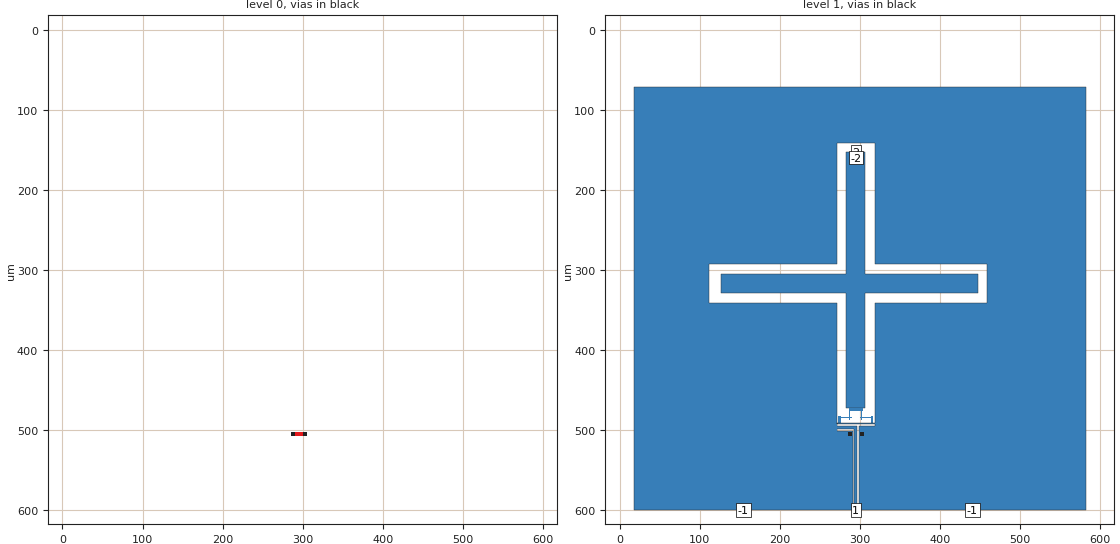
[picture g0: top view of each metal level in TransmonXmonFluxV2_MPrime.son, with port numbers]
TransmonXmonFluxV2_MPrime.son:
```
FTYP SONPROJ 15 ! Sonnet Project File
VER 16.52
HEADER
LIC calt2.2.43068 b4ae2bd1247e DESKTOP-SL82IK9 Michael
DAT 04/14/2016 13:14:15
BUILT_BY_CREATED xgeom 16.52 04/11/2016 14:48:12
BUILT_BY_SAVED xgeom 16.52
MDATE 04/14/2016 13:14:08
HDATE 04/14/2016 13:14:08
END HEADER
DIM
FREQ GHZ
IND NH
LNG UM
ANG DEG
CON /OH
CAP PF
RES OH
END DIM
FREQ
SIMPLE 0.1 10.0
ABS 0.0 10.0 
END FREQ
CONTROL
VARSWP
OPTIONS  -dj 
SPEED 0
CACHE_ABS 1
TARG_ABS 300
Q_ACC N
END CONTROL
GEO
TMET "Lossless" 0 SUP 0 0 0 0
BMET "Lossless" 0 SUP 0 0 0 0
BOX 3 600 600 1200 1200 20 0
      500 1 1 0 0 0 0 "Unnamed"
      10 1 1 0 0 0 0 "Unnamed"
      500 11.9 1 5e-006 0 0 0 "Silicon (intrinsic)"
      500 1 1 0 0 0 0 "Unnamed"
VALVAR rightNotch LNG 21.9999826 "Dim. Param."
VALVAR leftNotch NONE 22 "Dim. Param."
LORGN 0 600 U 
POR1 CUP A
POLY 13 1
4
2 50 0 0 0 295 152.9999969 
POR1 STD
POLY 56 1
2
-1 50 0 0 0 154.4999927 600 
POR1 STD
POLY 56 1
44
-1 50 0 0 0 440.49999 600 
POR1 STD
POLY 56 1
9
1 50 0 0 0 295.0000012 600 
POR1 CUP A
POLY 56 1
29
-2 50 0 0 0 295 140.9999967 
CUPGRP "A"
ID 71
GNDREF F
TWTYPE CUST
TWVALUE 24
END
NUM 13
0 5 -1 N 9 1 1 100 100 0 0 0 Y
285 503
305 503
305 508
285 508
285 503
END
VIA POLYGON
0 5 -1 N 10 1 1 100 100 0 0 0 Y
TOLEVEL 1 RING NOCOVERS
285 503
290 503
290 508
285 508
285 503
END
VIA POLYGON
0 5 -1 N 11 1 1 100 100 0 0 0 Y
TOLEVEL 1 RING NOCOVERS
300 503
305 503
305 508
300 508
300 503
END
1 13 -1 N 13 1 1 100 100 0 0 0 Y
307 329
446.9999709 329
446.9999709 305
307 305
307 152.9999969
283 152.9999969
283 305
127 305
127 329
283 329
283 472.9999909
307 472.9999909
307 329
END
1 5 -1 N 14 1 1 100 100 0 0 0 Y
287 475
288 475
288 487
287 487
287 475
END
1 5 -1 N 15 1 1 100 100 0 0 0 Y
300 484
317.0000236 484
317.0000236 485
300 485
300 484
END
1 5 -1 N 16 1 1 100 100 0 0 0 Y
286 472
304 472
304 476
286 476
286 472
END
1 5 -1 N 21 1 1 100 100 0 0 0 Y
290 484
272.9999763 484
272.9999763 485
290 485
290 484
END
1 5 -1 N 36 1 1 100 100 0 0 0 Y
273 483
276 483
276 493
273 493
273 483
END
1 5 -1 N 47 1 1 100 100 0 0 0 Y
314 483
317 483
317 493
314 493
314 483
END
1 47 -1 N 56 1 1 100 100 0 0 0 Y
582 72
18 72
18 600
290.9999853 600
290.9999853 500.9999814
270.99999 500.9999814
270.99999 499
292.99999 499
292.99999 501
292.99999 600
297.0000123 600
297.0000123 501
297 501
297 495
271 495
271 494.9999948
271.0000137 494.9999948
271.0000137 494.0000098
271.0000137 493.0000151
271 493.0000151
271 493
271 493
271 491
271 485
271 484
271 341
111 341
111 293
271 293
271 140.9999967
319 140.9999967
319 293
459 293
459 341
319 341
319 491
271 491
271 493
317 493
317 492.9999976
318.9999826 492.9999976
318.9999826 495
298.99998 495
298.99998 500.9999814
298.99998 600
582 600
582 72
END
1 5 -1 N 61 1 1 100 100 0 0 0 Y
270 493.0000151
270.99999 493.0000151
270.99999 501
270 501
270 493.0000151
END
1 9 -1 N 68 1 1 100 100 0 0 0 Y
303 481
303 480
303 475
302 475
302 480
302 481
302 487
303 487
303 481
END
END GEO
OPT
MAX 100
VARS
VAR rightNotch N UNDEF UNDEF UNDEF
VAR leftNotch N UNDEF UNDEF UNDEF
END
END OPT
VARSWP
ABS_ENTRY 0.0 10.0 
VAR rightNotch Y 10.0 30.0 5.0
VAR leftNotch Y 10.0 30.0 5.0
END
END VARSWP
QSG
IMPORT NO
EXTRA_METAL NO
UNITS NO
ALIGN NO
REF NO
VIEW_RES YES
METALS NO
USED NO
END QSG
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```
